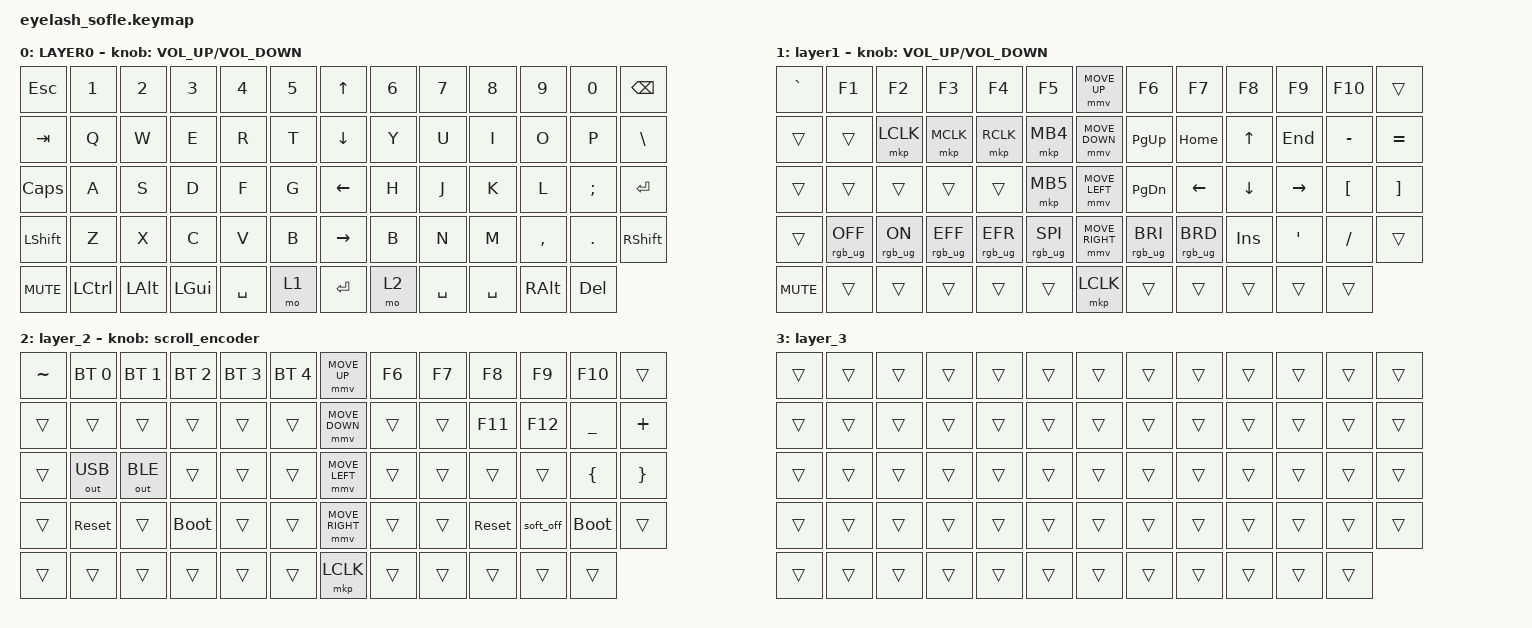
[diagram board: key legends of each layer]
#include <dt-bindings/zmk/mouse.h>
#include <input/processors.dtsi>
#include <behaviors.dtsi>
#include <dt-bindings/zmk/bt.h>
#include <dt-bindings/zmk/keys.h>
#include <dt-bindings/zmk/outputs.h>
#include <dt-bindings/zmk/pointing.h>
#include <dt-bindings/zmk/pointing.h>
#include <dt-bindings/zmk/pointing.h>
#include <dt-bindings/zmk/rgb.h>

/*

   &mmv_input_listener {
       input-processors = <&zip_xy_scaler 2 1>;
   };

   &msc_input_listener {
       input-processors = <&zip_xy_scaler 2 1>;
   };

 */

#define ZMK_MOUSE_DEFAULT_MOVE_VAL 1200  // 600
#define ZMK_MOUSE_DEFAULT_SCRL_VAL 20    // 10

/ {
    behaviors {
        mmv {
            acceleration-exponent = <1>;      // 1
            time-to-max-speed-ms = <900>;    // 40
            delay-ms = <0>;                   // 0
        };

        msc {
            acceleration-exponent = <1>;      // 0
            time-to-max-speed-ms = <400>;      // 500
            delay-ms = <0>;                   //   10
        };
    };

    scroll_encoder: scroll_encoder {
        compatible = "zmk,behavior-sensor-rotate";
        #sensor-binding-cells = <0>;
        bindings = <&msc SCRL_DOWN>, <&msc SCRL_UP>;

        tap-ms = <30>;
    };

    keymap {
        compatible = "zmk,keymap";

        layer0 {
            bindings = <
&kp ESC     &kp N1     &kp N2        &kp N3        &kp N4     &kp N5    &kp UP_ARROW     &kp N6  &kp N7     &kp N8     &kp N9         &kp N0      &kp BACKSPACE
&kp TAB     &kp Q      &kp W         &kp E         &kp R      &kp T     &kp DOWN_ARROW   &kp Y   &kp U      &kp I      &kp O          &kp P       &kp BSLH
&kp CAPS    &kp A      &kp S         &kp D         &kp F      &kp G     &kp LEFT_ARROW   &kp H   &kp J      &kp K      &kp L          &kp SEMI    &kp ENTER
&kp LSHFT   &kp Z      &kp X         &kp C         &kp V      &kp B     &kp RIGHT_ARROW  &kp B   &kp N      &kp M      &kp COMMA      &kp DOT     &kp RIGHT_SHIFT
&kp C_MUTE  &kp LCTRL  &kp LEFT_ALT  &kp LEFT_GUI  &kp SPACE  &mo 1     &kp ENTER        &mo 2   &kp SPACE  &kp SPACE  &kp RIGHT_ALT  &kp DELETE
            >;

            sensor-bindings = <&inc_dec_kp C_VOLUME_UP C_VOLUME_DOWN>;
            display-name = "LAYER0";
        };

        layer_1 {
            bindings = <
&kp GRAVE   &kp F1           &kp F2          &kp F3           &kp F4           &kp F5             &mmv MOVE_UP     &kp F6           &kp F7           &kp F8      &kp F9            &kp F10           &trans
&trans      &trans           &mkp LCLK       &mkp MCLK        &mkp RCLK        &mkp MB4           &mmv MOVE_DOWN   &kp PG_UP        &kp HOME         &kp UP      &kp END           &kp MINUS         &kp EQUAL
&trans      &trans           &trans          &trans           &trans           &mkp MB5           &mmv MOVE_LEFT   &kp PG_DN        &kp LEFT         &kp DOWN    &kp RIGHT         &kp LEFT_BRACKET  &kp RIGHT_BRACKET
&trans      &rgb_ug RGB_OFF  &rgb_ug RGB_ON  &rgb_ug RGB_EFF  &rgb_ug RGB_EFR  &rgb_ug RGB_SPI    &mmv MOVE_RIGHT  &rgb_ug RGB_BRI  &rgb_ug RGB_BRD  &kp INSERT  &kp SINGLE_QUOTE  &kp SLASH         &trans
&kp C_MUTE  &trans           &trans          &trans           &trans           &trans             &mkp LCLK        &trans           &trans           &trans      &trans            &trans
            >;

            display-name = "layer1";
            sensor-bindings = <&inc_dec_kp C_VOLUME_UP C_VOLUME_DOWN>;
        };

        layer_2 {
            bindings = <
&kp TILDE  &bt BT_SEL 0  &bt BT_SEL 1  &bt BT_SEL 2  &bt BT_SEL 3  &bt BT_SEL 4    &mmv MOVE_UP     &kp F6  &kp F7  &kp F8      &kp F9     &kp F10      &trans
&trans     &trans        &trans        &trans        &trans        &trans          &mmv MOVE_DOWN   &trans  &trans  &kp F11     &kp F12    &kp UNDER    &kp PLUS
&trans     &out OUT_USB  &out OUT_BLE  &trans        &trans        &trans          &mmv MOVE_LEFT   &trans  &trans  &trans      &trans     &kp LBRC     &kp RBRC
&trans     &sys_reset    &trans        &bootloader   &trans        &trans          &mmv MOVE_RIGHT  &trans  &trans  &sys_reset  &soft_off  &bootloader  &trans
&trans     &trans        &trans        &trans        &trans        &trans          &mkp LCLK        &trans  &trans  &trans      &trans     &trans
            >;

            sensor-bindings = <&scroll_encoder>;
        };

        layer_3 {
            bindings = <
&trans  &trans  &trans  &trans  &trans  &trans    &trans  &trans  &trans  &trans  &trans  &trans  &trans
&trans  &trans  &trans  &trans  &trans  &trans    &trans  &trans  &trans  &trans  &trans  &trans  &trans
&trans  &trans  &trans  &trans  &trans  &trans    &trans  &trans  &trans  &trans  &trans  &trans  &trans
&trans  &trans  &trans  &trans  &trans  &trans    &trans  &trans  &trans  &trans  &trans  &trans  &trans
&trans  &trans  &trans  &trans  &trans  &trans    &trans  &trans  &trans  &trans  &trans  &trans
            >;
        };
    };
};
